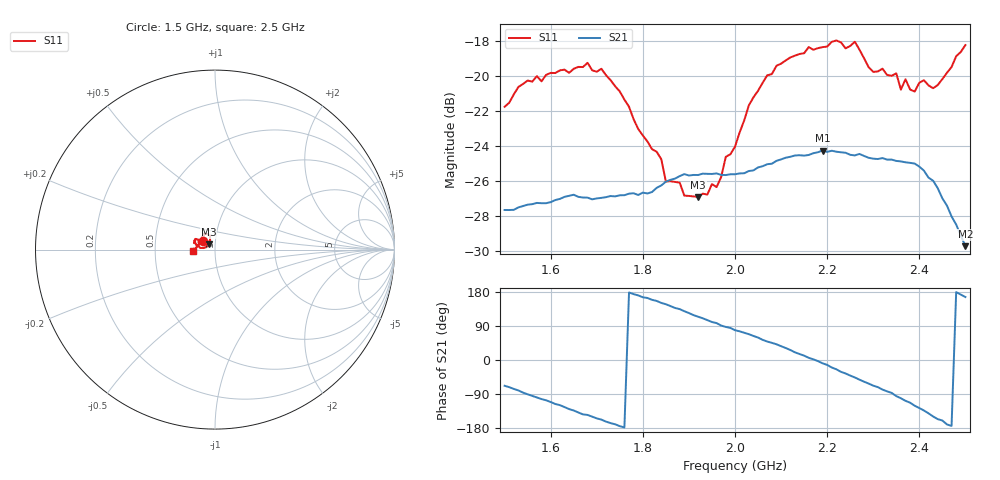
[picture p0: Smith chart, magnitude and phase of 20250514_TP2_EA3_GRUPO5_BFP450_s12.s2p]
# HZ S RI R 50
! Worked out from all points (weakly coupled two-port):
!   101 points, 1.5 GHz to 2.5 GHz, reference 50 ohm
!   highest |S21| = -24.25 dB at 2.19 GHz (marker M1); lowest = -29.7 dB at 2.5 GHz (marker M2)
!   lowest |S11| = -26.9 dB at 1.92 GHz (marker M3), VSWR 1.09, Z = 46.6 + j2.7 ohm
!   |S11| at or under -10 dB: start of sweep to end of sweep
!   S12 and S22 are empty: the file has one direction only
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1.5e9  -0.0656 0.0488  0.0155 -0.0384  0 0  0 0
1.55e9  -0.0719 0.0653  -0.000387 -0.0429  0 0  0 0
1.67e9  -0.0622 0.0861  -0.0362 -0.0268  0 0  0 0
1.71e9  -0.0546 0.0897  -0.0414 -0.0173  0 0  0 0
1.84e9  -0.03 0.0495  -0.0425 0.0239  0 0  0 0
1.85e9  -0.0237 0.044  -0.042 0.0271  0 0  0 0
1.92e9  -0.0347 0.0289  -0.0213 0.0476  0 0  0 0
1.96e9  -0.0457 0.0152  -0.00679 0.0523  0 0  0 0
1.98e9  -0.0574 0.0125  0.00249 0.0521  0 0  0 0
2e9  -0.0623 0.00854  0.0103 0.0514  0 0  0 0
2.03e9  -0.082 0.00867  0.02 0.0497  0 0  0 0
2.07e9  -0.0983 0.0211  0.037 0.0421  0 0  0 0
2.17e9  -0.1124 0.039  0.0602 0.00196  0 0  0 0
2.19e9  -0.1141 0.0404  0.0606 -0.00926  0 0  0 0
2.26e9  -0.1103 0.0598  0.0412 -0.0427  0 0  0 0
2.3e9  -0.0906 0.0488  0.0221 -0.0537  0 0  0 0
2.34e9  -0.0877 0.0486  0.00322 -0.0576  0 0  0 0
2.35e9  -0.093 0.0417  -0.00525 -0.057  0 0  0 0
2.36e9  -0.0834 0.0377  -0.0108 -0.056  0 0  0 0
2.37e9  -0.0891 0.0407  -0.0173 -0.054  0 0  0 0
2.43e9  -0.0884 0.0269  -0.0431 -0.0258  0 0  0 0
2.5e9  -0.1226 -0.00588  -0.0317 0.00778  0 0  0 0
